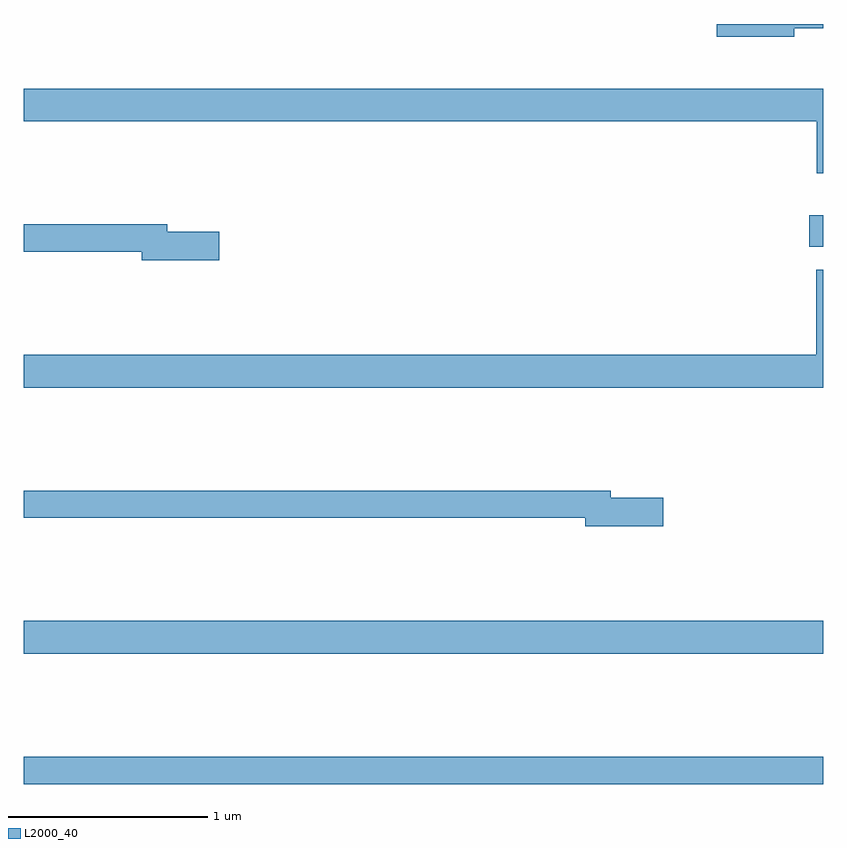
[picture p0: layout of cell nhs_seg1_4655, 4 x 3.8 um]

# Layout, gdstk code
import gdstk
lib = gdstk.Library(unit=1e-6, precision=1e-09)
def R(c, l, rs):  # rectangles x0, y0, x1, y1
    for r in rs: c.add(gdstk.rectangle(r[:2], r[2:], *l))
def P(c, l, *ps):  # polygons
    for p in ps: c.add(gdstk.Polygon(p, *l))
L2000_40 = (2000, 40)

nhs_seg1_4655 = lib.new_cell('nhs_seg1_4655')
R(nhs_seg1_4655, L2000_40, [(363,568.396,367,568.532), (363,569.048,367,569.212), (366.93,571.085,367,571.243)])
P(nhs_seg1_4655, L2000_40, [(366.856,572.178),(367,572.178),(367,572.199),(366.468,572.199),(366.468,572.135),(366.856,572.135)],
  [(367,571.876),(363,571.876),(363,571.712),(366.967,571.712),(366.967,571.452),(367,571.452)],
  [(363.979,571.16),(363.718,571.16),(363.718,571.196),(363,571.196),(363,571.06),(363.59,571.06),(363.59,571.018),(363.979,571.018)],
  [(367,570.97),(366.965,570.97),(366.965,570.544),(363,570.544),(363,570.38),(367,570.38)],
  [(366.199,569.828),(365.938,569.828),(365.938,569.864),(363,569.864),(363,569.728),(365.81,569.728),(365.81,569.686),(366.199,569.686)])

lib.write_gds('nhs_seg1_4655.gds')
